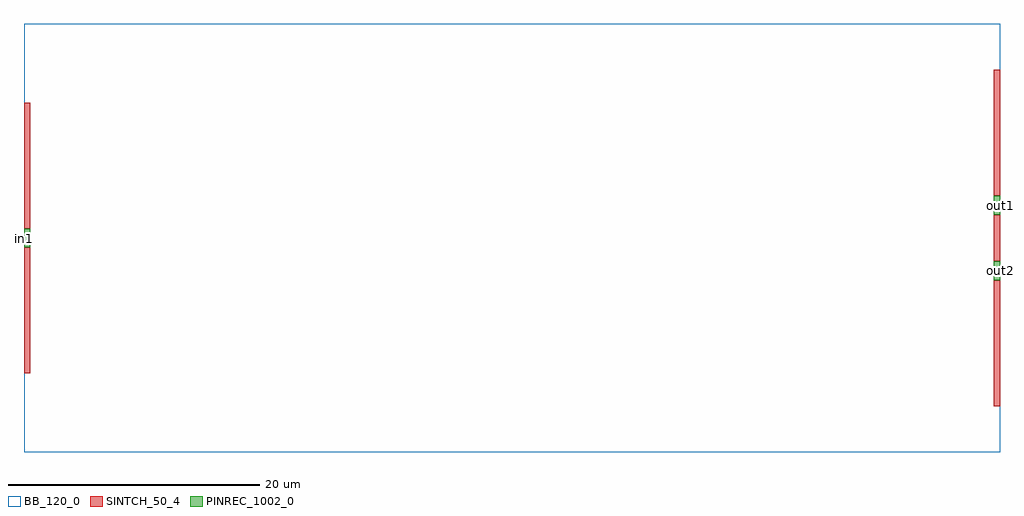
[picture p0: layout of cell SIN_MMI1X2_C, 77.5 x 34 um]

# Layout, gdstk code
import gdstk
lib = gdstk.Library(unit=1e-6, precision=1e-09)
def R(c, l, rs):  # rectangles x0, y0, x1, y1
    for r in rs: c.add(gdstk.rectangle(r[:2], r[2:], *l))
SINTCH_50_4 = (50, 4)
BB_120_0 = (120, 0)
PINREC_1002_0 = (1002, 0)

sin_mmi1x2_c = lib.new_cell('SIN_MMI1X2_C')
R(sin_mmi1x2_c, SINTCH_50_4, [(77,3.65,77.5,13.65), (0,6.25,0.5,16.25), (77,15.15,77.5,18.85), (0,17.75,0.5,27.75), (77,20.35,77.5,30.35)])
R(sin_mmi1x2_c, BB_120_0, [(0,0,77.5,34)])
R(sin_mmi1x2_c, PINREC_1002_0, [(77,13.65,77.5,15.15), (0,16.25,0.5,17.75), (77,18.85,77.5,20.35)])
sin_mmi1x2_c.add(gdstk.Label('out2', (77.5,14.424), layer=1000, texttype=0))
sin_mmi1x2_c.add(gdstk.Label('out1', (77.5,19.595), layer=1000, texttype=0))
sin_mmi1x2_c.add(gdstk.Label('in1', (0,16.985), layer=1000, texttype=0))

lib.write_gds('SIN_MMI1X2_C.gds')
